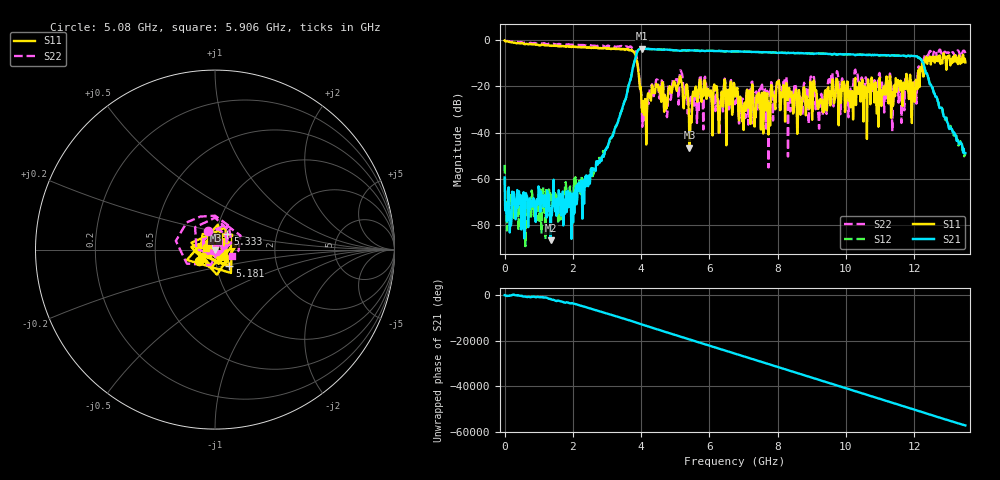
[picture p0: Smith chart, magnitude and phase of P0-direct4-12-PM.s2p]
!Agilent Technologies,N5230A,MY45000845,A.06.01.05
!Agilent N5230A: A.06.01.05
!Date: Friday, July 13, 2012 16:33:53
!Correction: S11(Full 2 Port(1,2)) S21(Full 2 Port(1,2)) S12(Full 2 Port(1,2)) S22(Full 2 Port(1,2))
!S2P File: Measurements: S11, S21, S12, S22:
# Hz S  dB  R 50
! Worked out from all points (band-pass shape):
!   801 points, 300 kHz to 13.5 GHz, reference 50 ohm
!   highest |S21| = -3.67 dB at 4.016 GHz (marker M1); lowest = -86.7 dB at 1.35 GHz (marker M2)
!   |S21| within 3 dB of the highest: 3.849 GHz to 11.27 GHz (7.426 GHz wide, 98.2 % of centre); 11.31 GHz to 11.45 GHz (140.3 MHz wide, 1.23 % of centre) (the widest 2 of 5)
!   lowest |S11| = -46.6 dB at 5.417 GHz (marker M3), VSWR 1.01, Z = 50.2 - j0.404 ohm
!   |S11| at or under -10 dB: 3.889 GHz to 12.23 GHz (8.345 GHz wide, 104 % of centre); 12.23561 GHz to 12.28422 GHz (48.61 MHz wide, 0.396 % of centre); 12.36886 GHz to 12.38776 GHz (18.9 MHz wide, 0.153 % of centre) (the widest 3 of 9)
!   |S22| runs from -55.1 to -0.1 dB; largest |S21 - S12| = 0.0065
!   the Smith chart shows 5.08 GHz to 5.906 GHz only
!   S11 on the Smith chart (normalised r, x): 5.08 GHz: 0.83, -0.10; 5.181 GHz: 1.15, -0.21; 5.333 GHz: 1.13, +0.20; 5.906 GHz: 0.90, +0.02
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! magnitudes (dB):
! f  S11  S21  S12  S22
! 300 kHz  -0.1  -59.4  -54.0  -0.1
! 270.3 MHz  -1.0  -65.8  -69.2  -0.8
! 1.35 GHz  -2.3  -86.7  -66.8  -1.6
! 2.261 GHz  -3.1  -63.3  -58.9  -2.0
! 2.987 GHz  -3.6  -46.6  -46.7  -2.6
! 3.763 GHz  -4.8  -11.6  -11.5  -4.2
! 4.016 GHz  -29.1  -3.7  -3.7  -27.2
! 4.506 GHz  -20.5  -4.0  -4.0  -19.7
! 5.08 GHz  -19.2  -4.4  -4.5  -19.2
! 5.181 GHz  -18.3  -4.5  -4.5  -13.9
! 5.333 GHz  -19.1  -4.5  -4.5  -20.0
! 5.417 GHz  -46.6  -4.4  -4.4  -25.4
! 5.906 GHz  -25.3  -4.6  -4.6  -20.0
! 6.75 GHz  -22.6  -4.9  -4.9  -27.7
! 7.003 GHz  -38.8  -4.9  -4.9  -29.4
! 9.011 GHz  -34.4  -5.8  -5.8  -18.8
! 9.18 GHz  -29.8  -5.7  -5.7  -29.3
! 9.551 GHz  -28.2  -6.0  -6.0  -18.5
! 11.26 GHz  -27.4  -6.5  -6.5  -21.0
! 11.91 GHz  -26.9  -6.7  -6.7  -25.4
! 12.2 GHz  -13.4  -8.3  -8.3  -12.0
! 13.5 GHz  -9.7  -49.0  -49.4  -5.6
